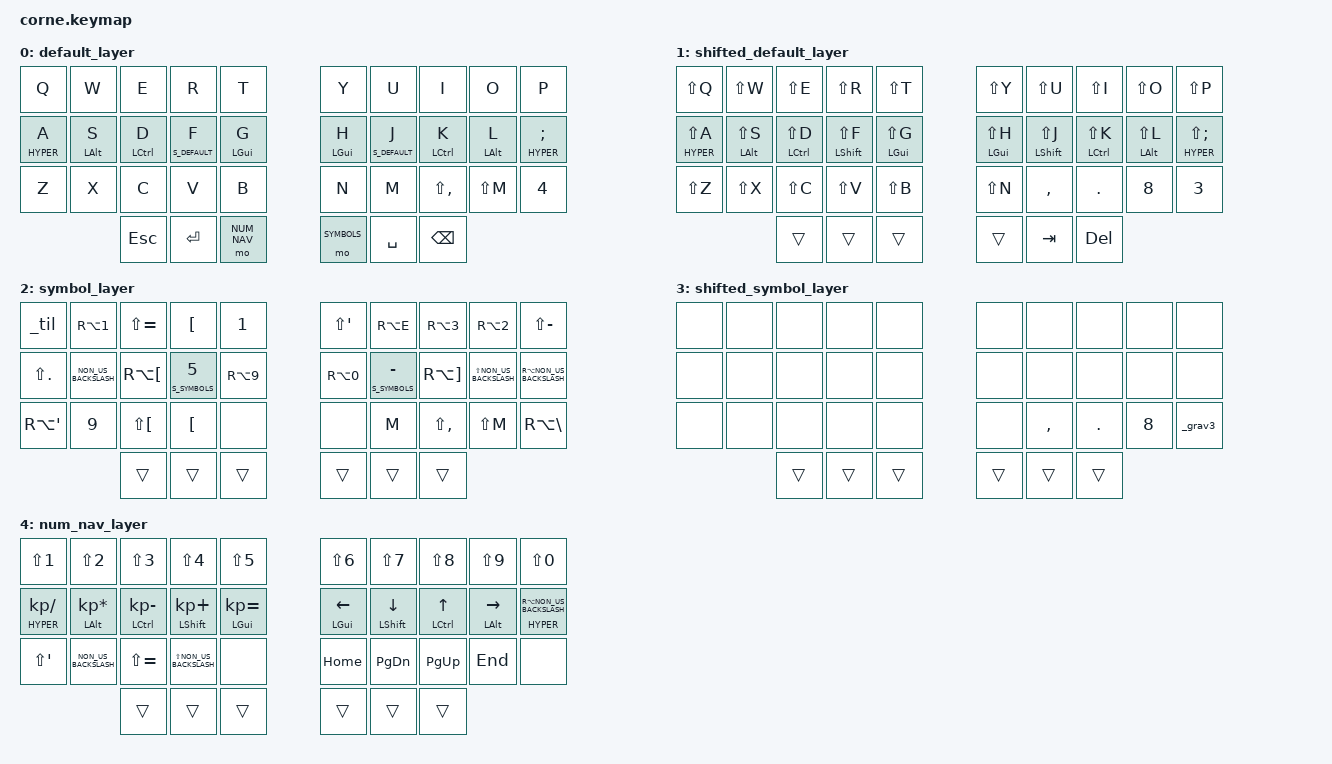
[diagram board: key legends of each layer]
#include <behaviors.dtsi>
#include <dt-bindings/zmk/keys.h>
#include <dt-bindings/zmk/bt.h>

/ {
  chosen {
    zmk,physical-layout = &foostan_corne_5col_layout;
  };
};


#define DEFAULT   0
#define S_DEFAULT 1
#define SYMBOLS   2
#define S_SYMBOLS 3
#define NUM_NAV   4


#define  ___  &trans
#define  _x_  &none

#define  HYPER  LC(LA(LS(LGUI)))


// DEFAULT

#define  RAISE  &mo SYMBOLS
#define  LOWER  &mo NUM_NAV

#define  __a  &kp Q
#define  __z  &kp W
#define  __e  &kp E
#define  __r  &kp R
#define  __t  &kp T
#define  __y  &kp Y
#define  __u  &kp U
#define  __i  &kp I
#define  __o  &kp O
#define  __p  &kp P

#define  __H_q  &mt HYPER  A
#define  __A_s  &mt LALT   S
#define  __C_d  &mt LCTRL  D
#define  __S_f  &lt S_DEFAULT F
#define  __M_g  &mt LGUI   G
#define  __M_h  &mt LGUI   H
#define  __S_j  &lt S_DEFAULT J
#define  __C_k  &mt LCTRL  K
#define  __A_l  &mt LALT   L
#define  __H_m  &mt HYPER  SEMI

#define  __w    &kp Z
#define  __x    &kp X
#define  __c    &kp C
#define  __v    &kp V
#define  __b    &kp B
#define  __n    &kp N
#define  __com  &kp M          // ,
#define  __dot  &kp LS(COMMA)  // .
#define  __que  &kp LS(M)      // ?
#define  __squ  &kp N4         // '

#define  __ESC  &kp ESC
#define  __RET  &kp RET
#define  __SPC  &kp SPACE
#define  __BSP  &kp BSPC


// SHIFTED DEFAULT

#define  __A  &kp LS(Q)
#define  __Z  &kp LS(W)
#define  __E  &kp LS(E)
#define  __R  &kp LS(R)
#define  __T  &kp LS(T)
#define  __Y  &kp LS(Y)
#define  __U  &kp LS(U)
#define  __I  &kp LS(I)
#define  __O  &kp LS(O)
#define  __P  &kp LS(P)

#define  __H_Q  &mt HYPER  LS(A)
#define  __A_S  &mt LALT   LS(S)
#define  __C_D  &mt LCTRL  LS(D)
#define  __S_F  &mt LSHIFT LS(F)
#define  __M_G  &mt LGUI   LS(G)
#define  __M_H  &mt LGUI   LS(H)
#define  __S_J  &mt LSHIFT LS(J)
#define  __C_K  &mt LCTRL  LS(K)
#define  __A_L  &mt LALT   LS(L)
#define  __H_M  &mt HYPER  LS(SEMI)

#define  __W    &kp LS(Z)
#define  __X    &kp LS(X)
#define  __C    &kp LS(C)
#define  __V    &kp LS(V)
#define  __B    &kp LS(B)
#define  __N    &kp LS(N)
#define  __sco  &kp COMMA  // ;
#define  __col  &kp DOT    // :
#define  __exc  &kp N8     // !
#define  __dqu  &kp N3     // "

#define  __TAB  &kp TAB
#define  __DEL  &kp DEL


// SYMBOLS

// &_til macro                // ~
#define __bar  &kp RA(N1)     // |
#define __und  &kp LS(EQUAL)  // _
#define __dol  &kp LBKT       // $
#define __amp  &kp N1         // &
#define __pro  &kp LS(SQT)    // %
#define __eur  &kp RA(E)      // €
#define __has  &kp RA(N3)     // #
#define __at   &kp RA(N2)     // @
#define __deg  &kp LS(MINUS)  // °

#define __fsl  &kp LS(DOT)               // /
#define __lt   &kp NON_US_BACKSLASH      // <
#define __lbr  &kp RA(LBKT)              // [
#define __lpa  &lt S_SYMBOLS N5          // (
#define __lac  &kp RA(N9)                // {
#define __rac  &kp RA(N0)                // }
#define __rpa  &lt S_SYMBOLS MINUS       // )
#define __rbr  &kp RA(RBKT)              // ]
#define __gt   &kp LS(NON_US_BACKSLASH)  // >
#define __bsl  &kp RA(NON_US_BACKSLASH)  // \

#define __aigu  &kp RA(SQT)   // é
#define __cce   &kp N9        // ç
#define __trm   &kp LS(LBKT)  // ë
#define __car   &kp LBKT      // ^
#define __grav  &kp RA(BSLH)  // è


// SHIFTED SYMBOLS

// &_grav3 macro  // ```


// NUMBERS & NAVIGATION

#define  __1  &kp LS(N1)
#define  __2  &kp LS(N2)
#define  __3  &kp LS(N3)
#define  __4  &kp LS(N4)
#define  __5  &kp LS(N5)
#define  __6  &kp LS(N6)
#define  __7  &kp LS(N7)
#define  __8  &kp LS(N8)
#define  __9  &kp LS(N9)
#define  __0  &kp LS(N0)

#define  H_div  &mt HYPER  KP_DIVIDE
#define  A_mul  &mt LALT   KP_MULTIPLY
#define  C_min  &mt LCTRL  KP_MINUS
#define  S_plu  &mt LSHIFT KP_PLUS
#define  M_equ  &mt LGUI   KP_EQUAL
#define  M_Le   &mt LGUI   LEFT
#define  S_Dn   &mt LSHIFT DOWN
#define  C_Up   &mt LCTRL  UP
#define  A_Rg   &mt LALT   RIGHT
#define  H_bsl  &mt HYPER  RA(NON_US_BACKSLASH)

#define  __HOME   &kp HOME
#define  __PG_DN  &kp PG_DN
#define  __PG_UP  &kp PG_UP
#define  __END    &kp END

/ {
  macros {
    _til: _til {
      compatible = "zmk,behavior-macro";
      #binding-cells = <0>;
      bindings = <&macro_tap &kp RA(SLASH) &kp SPACE>;
    };
    _grav3: _grav3 {
      compatible = "zmk,behavior-macro";
      #binding-cells = <0>;
      bindings
        = <&macro_tap &kp RA(BSLH) &kp SPACE>
        , <&macro_tap &kp RA(BSLH) &kp SPACE>
        , <&macro_tap &kp RA(BSLH) &kp SPACE>
        ;
    };
  };

  keymap {
    compatible = "zmk,keymap";

    default_layer {
      bindings = <
// ╭─────────┬─────────┬─────────┬─────────┬─────────╮   ╭─────────┬─────────┬─────────┬─────────┬─────────╮
       __a       __z       __e       __r       __t           __y       __u       __i       __o       __p
// ├─────────┼─────────┼─────────┼─────────┼─────────┤   ├─────────┼─────────┼─────────┼─────────┼─────────┤
     __H_q     __A_s     __C_d     __S_f     __M_g         __M_h     __S_j     __C_k     __A_l     __H_m
// ├─────────┼─────────┼─────────┼─────────┼─────────┤   ├─────────┼─────────┼─────────┼─────────┼─────────┤
       __w       __x       __c       __v       __b           __n      __com     __dot     __que     __squ
// ╰─────────┴─────────┼─────────┼─────────┼─────────┤   ├─────────┼─────────┼─────────┼─────────┴─────────╯
                          __ESC     __RET     LOWER         RAISE     __SPC     __BSP
//                     ╰─────────┴─────────┴─────────╯   ╰─────────┴─────────┴─────────╯
      >;
    };

    shifted_default_layer {
      bindings = <
// ╭─────────┬─────────┬─────────┬─────────┬─────────╮   ╭─────────┬─────────┬─────────┬─────────┬─────────╮
       __A       __Z       __E       __R       __T           __Y       __U       __I       __O       __P
// ├─────────┼─────────┼─────────┼─────────┼─────────┤   ├─────────┼─────────┼─────────┼─────────┼─────────┤
      __H_Q     __A_S     __C_D     __S_F     __M_G         __M_H     __S_J     __C_K     __A_L     __H_M
// ├─────────┼─────────┼─────────┼─────────┼─────────┤   ├─────────┼─────────┼─────────┼─────────┼─────────┤
       __W       __X       __C       __V       __B           __N      __sco     __col     __exc     __dqu
// ╰─────────┴─────────┼─────────┼─────────┼─────────┤   ├─────────┼─────────┼─────────┼─────────┴─────────╯
                           ___       ___       ___           ___      __TAB     __DEL
//                     ╰─────────┴─────────┴─────────╯   ╰─────────┴─────────┴─────────╯
      >;
    };

    symbol_layer {
      bindings = <
// ╭─────────┬─────────┬─────────┬─────────┬─────────╮   ╭─────────┬─────────┬─────────┬─────────┬─────────╮
      &_til     __bar     __und     __dol     __amp         __pro     __eur     __has     __at      __deg
// ├─────────┼─────────┼─────────┼─────────┼─────────┤   ├─────────┼─────────┼─────────┼─────────┼─────────┤
      __fsl     __lt      __lbr     __lpa     __lac         __rac     __rpa     __rbr     __gt      __bsl
// ├─────────┼─────────┼─────────┼─────────┼─────────┤   ├─────────┼─────────┼─────────┼─────────┼─────────┤
     __aigu     __cce     __trm     __car      _x_           _x_      __com     __dot     __que     __grav
// ╰─────────┴─────────┼─────────┼─────────┼─────────┤   ├─────────┼─────────┼─────────┼─────────┴─────────╯
                           ___       ___       ___           ___       ___       ___
//                     ╰─────────┴─────────┴─────────╯   ╰─────────┴─────────┴─────────╯
      >;
    };

    shifted_symbol_layer {
      bindings = <
// ╭─────────┬─────────┬─────────┬─────────┬─────────╮   ╭─────────┬─────────┬─────────┬─────────┬─────────╮
       _x_       _x_       _x_       _x_       _x_           _x_       _x_       _x_       _x_       _x_
// ├─────────┼─────────┼─────────┼─────────┼─────────┤   ├─────────┼─────────┼─────────┼─────────┼─────────┤
       _x_       _x_       _x_       _x_       _x_           _x_       _x_       _x_       _x_       _x_
// ├─────────┼─────────┼─────────┼─────────┼─────────┤   ├─────────┼─────────┼─────────┼─────────┼─────────┤
       _x_       _x_       _x_       _x_       _x_           _x_     __sco     __col     __exc     &_grav3
// ╰─────────┴─────────┼─────────┼─────────┼─────────┤   ├─────────┼─────────┼─────────┼─────────┴─────────╯
                           ___       ___       ___           ___       ___       ___
//                     ╰─────────┴─────────┴─────────╯   ╰─────────┴─────────┴─────────╯
      >;
    };

    num_nav_layer {
      bindings = <
// ╭─────────┬─────────┬─────────┬─────────┬─────────╮   ╭─────────┬─────────┬─────────┬─────────┬─────────╮
       __1       __2       __3       __4       __5           __6       __7       __8       __9       __0
// ├─────────┼─────────┼─────────┼─────────┼─────────┤   ├─────────┼─────────┼─────────┼─────────┼─────────┤
      H_div     A_mul     C_min     S_plu     M_equ          M_Le      S_Dn      C_Up      A_Rg     H_bsl
// ├─────────┼─────────┼─────────┼─────────┼─────────┤   ├─────────┼─────────┼─────────┼─────────┼─────────┤
      __pro     __lt      __und     __gt       _x_         __HOME    __PG_DN   __PG_UP    __END      _x_
// ╰─────────┴─────────┼─────────┼─────────┼─────────┤   ├─────────┼─────────┼─────────┼─────────┴─────────╯
                           ___       ___       ___           ___       ___       ___
//                     ╰─────────┴─────────┴─────────╯   ╰─────────┴─────────┴─────────╯
      >;
    };
  };
};

// TODO:
// Cut, Copy, Paste, Undo, Redo
// Media and volume control
// Screen brightness control
// Underglow RGB control
// BTLE control
// Function keys
// Printscreen
